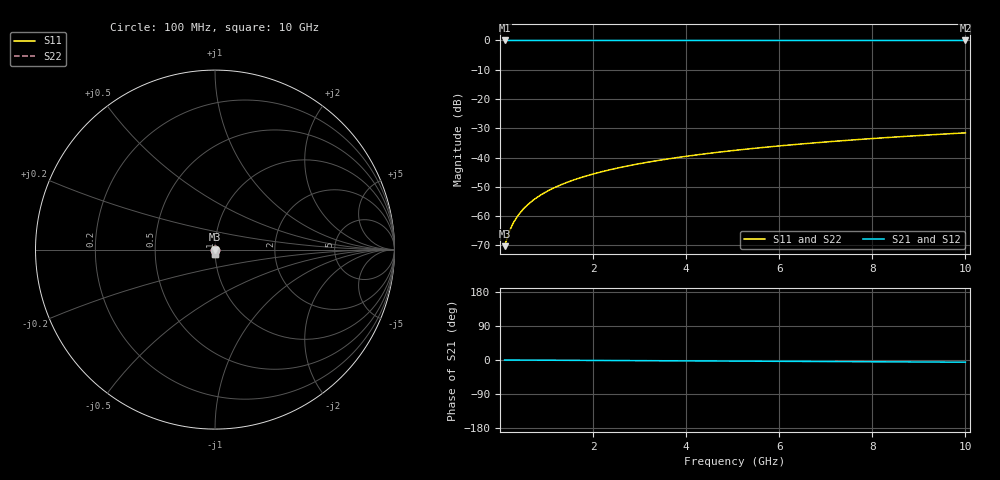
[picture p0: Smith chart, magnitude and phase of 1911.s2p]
# Hz S RI R 50.00
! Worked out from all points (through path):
!   100 points, 100 MHz to 10 GHz, reference 50 ohm
!   highest |S21| = 0.00 dB at 100 MHz (marker M1); lowest = 0.0 dB at 10 GHz (marker M2)
!   lowest |S11| = -70.3 dB at 100 MHz (marker M3), VSWR 1.00, Z = 50 - j0.0261 ohm
!   |S11| at or under -10 dB: start of sweep to end of sweep
!   |S22| runs from -70.3 to -31.6 dB; largest |S21 - S12| = 0
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1e8  0.000161 -0.000261  0.9998 -0.000997  0.9998 -0.000997  0.000161 -0.000261
2e8  0.000161 -0.000523  0.9998 -0.00199  0.9998 -0.00199  0.000161 -0.000523
3e8  0.00016 -0.000784  0.9998 -0.00299  0.9998 -0.00299  0.00016 -0.000784
4e8  0.000158 -0.00105  0.9998 -0.00399  0.9998 -0.00399  0.000158 -0.00105
5e8  0.000155 -0.00131  0.9998 -0.00498  0.9998 -0.00498  0.000155 -0.00131
6e8  0.000152 -0.00157  0.9998 -0.00598  0.9998 -0.00598  0.000152 -0.00157
7e8  0.000149 -0.00183  0.9998 -0.00698  0.9998 -0.00698  0.000149 -0.00183
8e8  0.000145 -0.00209  0.9998 -0.00798  0.9998 -0.00798  0.000145 -0.00209
9e8  0.00014 -0.00235  0.9998 -0.00897  0.9998 -0.00897  0.00014 -0.00235
1.1e9  0.000129 -0.00288  0.9998 -0.011  0.9998 -0.011  0.000129 -0.00288
1.4e9  0.000109 -0.00366  0.9997 -0.014  0.9997 -0.014  0.000109 -0.00366
1.8e9  7.42e-05 -0.00471  0.9996 -0.018  0.9996 -0.018  7.42e-05 -0.00471
2.1e9  4.25e-05 -0.0055  0.9996 -0.021  0.9996 -0.021  4.25e-05 -0.0055
2.5e9  -7.12e-06 -0.00655  0.9995 -0.025  0.9995 -0.025  -7.12e-06 -0.00655
2.9e9  -6.53e-05 -0.0076  0.9994 -0.029  0.9994 -0.029  -6.53e-05 -0.0076
3.4e9  -0.00015 -0.00892  0.9992 -0.034  0.9992 -0.034  -0.00015 -0.00892
4.2e9  -0.000314 -0.011  0.9989 -0.042  0.9989 -0.042  -0.000314 -0.011
5.1e9  -0.000539 -0.0134  0.9984 -0.051  0.9984 -0.051  -0.000539 -0.0134
5.9e9  -0.000776 -0.0155  0.9979 -0.0591  0.9979 -0.0591  -0.000776 -0.0155
6.7e9  -0.00105 -0.0176  0.9974 -0.0672  0.9974 -0.0672  -0.00105 -0.0176
8.4e9  -0.00174 -0.0221  0.9959 -0.0844  0.9959 -0.0844  -0.00174 -0.0221
1e10  -0.00253 -0.0263  0.9943 -0.1006  0.9943 -0.1006  -0.00253 -0.0263
